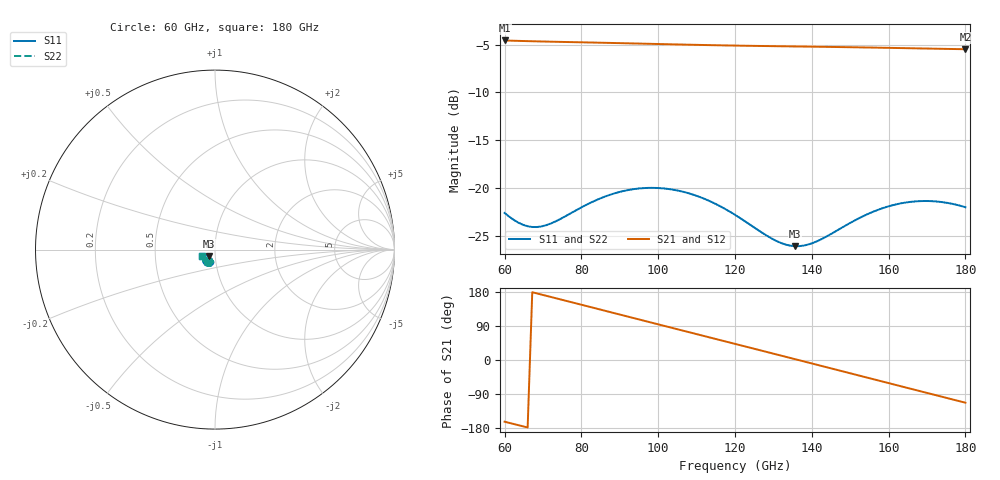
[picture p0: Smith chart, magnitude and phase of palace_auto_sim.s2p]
#  GHZ S DB R 50
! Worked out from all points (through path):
!   101 points, 60 GHz to 180 GHz, reference 50 ohm
!   highest |S21| = -4.57 dB at 60 GHz (marker M1); lowest = -5.5 dB at 180 GHz (marker M2)
!   group delay of S21, straight-line fit = 7.18 ps
!   lowest |S11| = -26.1 dB at 135.6 GHz (marker M3), VSWR 1.10, Z = 46.5 - j3.32 ohm
!   |S11| at or under -10 dB: start of sweep to end of sweep
!   |S22| runs from -26.1 to -20.0 dB; largest |S21 - S12| = 9.8e-14
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60  -22.61 -121.2  -4.57 -162.8  -4.57 -162.8  -22.75 -120.7
64.8  -23.85 -114.0  -4.63 -175.1  -4.63 -175.1  -23.98 -113.2
68.4  -24.09 -107.0  -4.67 175.7  -4.67 175.7  -24.19 -106.1
74.4  -23.27 -99.0  -4.72 160.3  -4.72 160.3  -23.31 -98.1
80.4  -21.95 -98.5  -4.77 144.8  -4.77 144.8  -21.97 -97.8
86.4  -20.86 -103.5  -4.82 129.3  -4.82 129.3  -20.88 -102.9
91.2  -20.30 -109.6  -4.86 116.9  -4.86 116.9  -20.31 -109.2
96  -20.02 -116.7  -4.91 104.4  -4.91 104.4  -20.04 -116.3
100.8  -20.03 -124.1  -4.95 92.0  -4.95 92.0  -20.04 -123.8
105.6  -20.32 -131.3  -5.00 79.6  -5.00 79.6  -20.33 -131.1
110.4  -20.88 -138.0  -5.04 67.3  -5.04 67.3  -20.89 -137.9
120  -22.81 -147.0  -5.11 42.5  -5.11 42.5  -22.81 -147.1
128.4  -25.02 -145.4  -5.16 20.9  -5.16 20.9  -25.00 -145.8
135.6  -26.09 -134.2  -5.20 2.3  -5.20 2.3  -26.09 -135.1
140.4  -25.74 -125.8  -5.23 -10.1  -5.23 -10.1  -25.77 -126.8
150  -23.66 -120.1  -5.28 -35.0  -5.28 -35.0  -23.74 -121.1
156  -22.48 -123.5  -5.32 -50.6  -5.32 -50.6  -22.57 -124.4
160.8  -21.83 -128.3  -5.35 -63.0  -5.35 -63.0  -21.92 -129.1
165.6  -21.46 -134.0  -5.39 -75.5  -5.39 -75.5  -21.55 -134.8
170.4  -21.37 -140.1  -5.42 -87.9  -5.42 -87.9  -21.44 -140.9
175.2  -21.56 -146.2  -5.46 -100.3  -5.46 -100.3  -21.62 -147.0
180  -22.02 -151.6  -5.49 -112.7  -5.49 -112.7  -22.05 -152.4
